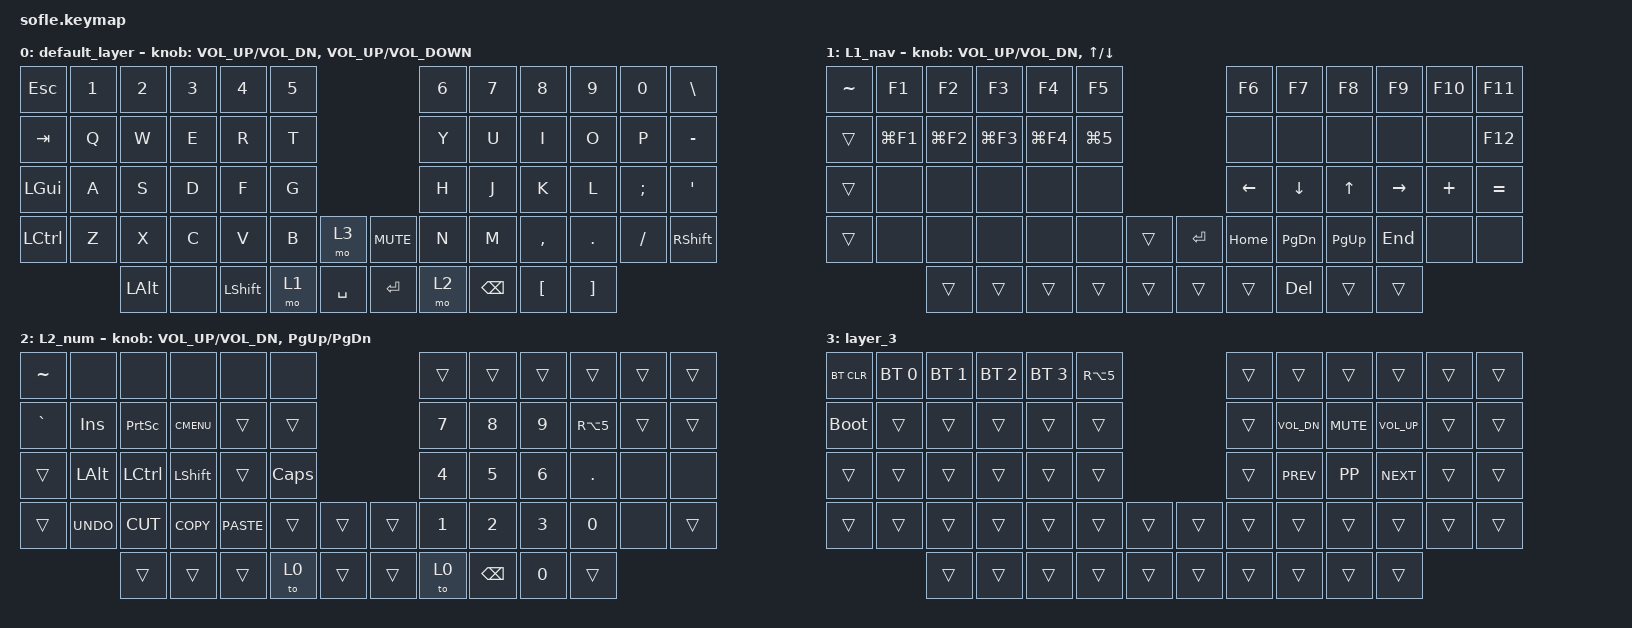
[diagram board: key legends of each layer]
/*
 * Copyright (c) 2020 The ZMK Contributors
 *
 * SPDX-License-Identifier: MIT
 */

#include <behaviors.dtsi>
#include <dt-bindings/zmk/bt.h>
#include <dt-bindings/zmk/keys.h>

/ {
    keymap {
        compatible = "zmk,keymap";

        default_layer {
            // ------------------------------------------------------------------------------------------------------------
            // |  `    |  1  |  2  |  3   |  4   |  5   |                   |  6   |  7    |  8    |  9   |   0   |       |
            // |  ESC  |  Q  |  W  |  E   |  R   |  T   |                   |  Y   |  U    |  I    |  O   |   P   | BKSPC |
            // |  TAB  |  A  |  S  |  D   |  F   |  G   |                   |  H   |  J    |  K    |  L   |   ;   |   '   |
            // | SHIFT |  Z  |  X  |  C   |  V   |  B   |  MUTE  |  |       |  N   |  M    |  ,    |  .   |   /   | SHIFT |
            //               | GUI | ALT  | CTRL | LOWER|  ENTER |  | SPACE | RAISE| CTRL  | ALT   | GUI  |

            bindings = <
&kp ESC           &kp N1  &kp N2        &kp N3  &kp N4          &kp N5                           &kp N6  &kp N7         &kp N8            &kp N9             &kp N0    &kp BACKSLASH
&kp TAB           &kp Q   &kp W         &kp E   &kp R           &kp T                            &kp Y   &kp U          &kp I             &kp O              &kp P     &kp MINUS
&kp LGUI          &kp A   &kp S         &kp D   &kp F           &kp G                            &kp H   &kp J          &kp K             &kp L              &kp SEMI  &kp SQT
&kp LEFT_CONTROL  &kp Z   &kp X         &kp C   &kp V           &kp B   &mo 3        &kp K_MUTE  &kp N   &kp M          &kp COMMA         &kp DOT            &kp FSLH  &kp RSHFT
                          &kp LEFT_ALT  &none   &kp LEFT_SHIFT  &mo 1   &kp SPACE    &kp ENTER   &mo 2   &kp BACKSPACE  &kp LEFT_BRACKET  &kp RIGHT_BRACKET
            >;

            sensor-bindings =
                <&inc_dec_kp C_VOL_UP C_VOL_DN>,
                <&inc_dec_kp C_VOLUME_UP C_VOLUME_DOWN>;
        };

        L1_nav {
            // TODO: Some binds are waiting for shifted keycode support.
            // ------------------------------------------------------------------------------------------------------------
            // |       |  F1 |  F2 |  F3  |  F4  |  F5  |                   |  F6  |  F7   |  F8   |  F9  |  F10  |  F11  |
            // | `     |   1 |   2 |   3  |   4  |   5  |                   |   6  |   7   |   8   |   9  |    0  |  F12  |
            // |       |  !  |  @  |  #   |  $   |  %   |                   |  ^   |  &    |  *    |  (   |   )   |   |   |
            // |       |  =  |  -  |  +   |  {   |  }   |        |  |       |  [   |  ]    |  ;    |  :   |   \   |       |
            //               |     |      |      |      |        |  |       |      |       |       |      |

            bindings = <
&kp TILDE  &kp F1      &kp F2      &kp F3      &kp F4      &kp F5                           &kp F6    &kp F7         &kp F8       &kp F9     &kp F10   &kp F11
&trans     &kp LG(F1)  &kp LG(F2)  &kp LG(F3)  &kp LG(F4)  &kp LG(N5)                       &none     &none          &none        &none      &none     &kp F12
&trans     &none       &none       &none       &none       &none                            &kp LEFT  &kp DOWN       &kp UP       &kp RIGHT  &kp PLUS  &kp EQUAL
&trans     &none       &none       &none       &none       &none       &trans    &kp ENTER  &kp HOME  &kp PAGE_DOWN  &kp PAGE_UP  &kp END    &none     &none
                       &trans      &trans      &trans      &trans      &trans    &trans     &trans    &kp DELETE     &trans       &trans
            >;

            sensor-bindings =
                <&inc_dec_kp C_VOL_UP C_VOL_DN>,
                <&inc_dec_kp UP DOWN>;
        };

        L2_num {
            // ------------------------------------------------------------------------------------------------------------
            // |BTCLR| BT1  | BT2  |  BT3  |  BT4  |  BT5 |                |      |      |       |      |       |       |
            // |     | INS  | PSCR | GUI   |       |      |                | PGUP |      |   ^   |      |       |       |
            // |     | ALT  | CTRL | SHIFT |       | CAPS |                | PGDN |   <- |   v   |  ->  |  DEL  | BKSPC |
            // |     | UNDO | CUT  | COPY  | PASTE |      |      |  |      |      |      |       |      |       |       |
            //              |      |       |       |      |      |  |      |      |      |       |      |

            bindings = <
&kp TILDE  &none       &none      &none        &none        &none                       &trans  &trans         &trans  &trans      &trans  &trans
&kp GRAVE  &kp INS     &kp PSCRN  &kp K_CMENU  &trans       &trans                      &kp N7  &kp N8         &kp N9  &kp RA(N5)  &trans  &trans
&trans     &kp LALT    &kp LCTRL  &kp LSHFT    &trans       &kp CLCK                    &kp N4  &kp N5         &kp N6  &kp PERIOD  &none   &none
&trans     &kp K_UNDO  &kp K_CUT  &kp K_COPY   &kp K_PASTE  &trans    &trans    &trans  &kp N1  &kp N2         &kp N3  &kp N0      &none   &trans
                       &trans     &trans       &trans       &to 0     &trans    &trans  &to 0   &kp BACKSPACE  &kp N0  &trans
            >;

            sensor-bindings = <&inc_dec_kp C_VOL_UP C_VOL_DN &inc_dec_kp PG_UP PG_DN>;
        };

        layer_3 {
            bindings = <
&bt BT_CLR   &bt BT_SEL 0  &bt BT_SEL 1  &bt BT_SEL 2  &bt BT_SEL 3  &kp RA(NUMBER_5)                    &trans  &trans        &trans      &trans           &trans  &trans
&bootloader  &trans        &trans        &trans        &trans        &trans                              &trans  &kp C_VOL_DN  &kp K_MUTE  &kp C_VOLUME_UP  &trans  &trans
&trans       &trans        &trans        &trans        &trans        &trans                              &trans  &kp K_PREV    &kp K_PP    &kp K_NEXT       &trans  &trans
&trans       &trans        &trans        &trans        &trans        &trans            &trans    &trans  &trans  &trans        &trans      &trans           &trans  &trans
                           &trans        &trans        &trans        &trans            &trans    &trans  &trans  &trans        &trans      &trans
            >;
        };
    };
};
